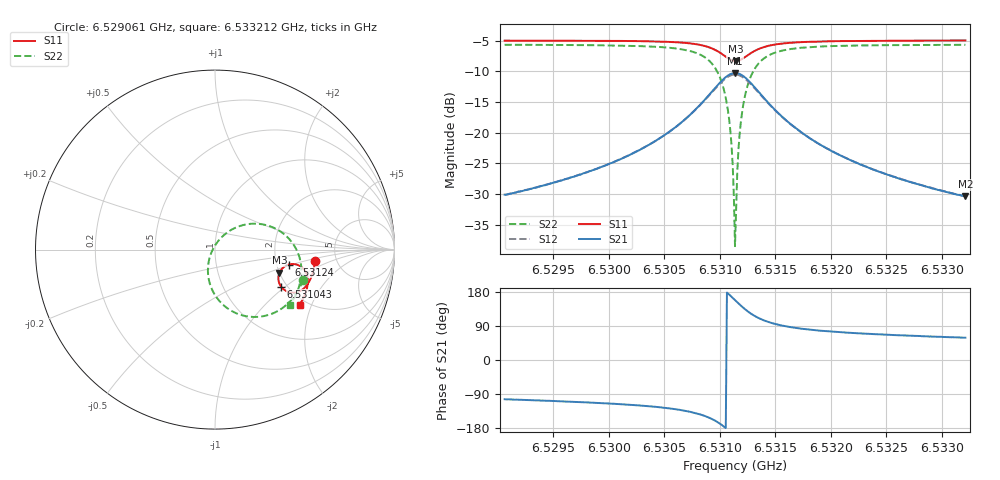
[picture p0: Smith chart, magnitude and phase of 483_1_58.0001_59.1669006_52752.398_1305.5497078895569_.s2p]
#  HZ  S  RI  R  50.00
! Rohde & Schwarz Vector Network Analyzer
! Rohde-Schwarz,ZNB20-2Port,1311601062101988,3.16
! Created: UTC 3/21/2024, 1:11:57 AM
! freq[Hz]  re:S11  im:S11  re:S21  im:S21  re:S12  im:S12  re:S22  im:S22
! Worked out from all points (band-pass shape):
!   401 points, 6.529061 GHz to 6.533212 GHz, reference 50 ohm
!   highest |S21| = -10.29 dB at 6.531136 GHz (marker M1); lowest = -30.4 dB at 6.533212 GHz (marker M2)
!   |S21| within 3 dB of the highest: 6.53093 GHz to 6.531345 GHz (415 kHz wide, 0.00635 % of centre)
!   lowest |S11| = -8.4 dB at 6.531147 GHz (marker M3), VSWR 2.23, Z = 100 - j30.1 ohm
!   |S11| at or under -10 dB: nowhere
!   |S22| runs from -38.5 to -5.7 dB; largest |S21 - S12| = 0.012
!   S11 on the Smith chart (normalised r, x): 6.529061 GHz: 3.42, -0.64; 6.531043 GHz: 1.86, -0.93; 6.53124 GHz: 2.33, -0.47; 6.533212 GHz: 1.82, -1.64
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6.529061e9  0.5573 -0.0642  -0.00729 -0.0304  -0.00785 -0.03  0.4911 -0.1678
6.5297563e9  0.5465 -0.1218  -0.0167 -0.0428  -0.0177 -0.0425  0.4603 -0.2325
6.5304515e9  0.5177 -0.1904  -0.0505 -0.0735  -0.0525 -0.0722  0.3792 -0.3231
6.5306902e9  0.4904 -0.2201  -0.0901 -0.0925  -0.0928 -0.0896  0.2988 -0.3638
6.5308666e9  0.4468 -0.239  -0.1579 -0.0989  -0.1601 -0.0925  0.1731 -0.3711
6.5309704e9  0.4023 -0.2333  -0.2269 -0.0722  -0.226 -0.063  0.0554 -0.3164
6.531043e9  0.3679 -0.2059  -0.2778 -0.0139  -0.2722 -0.00435  -0.0218 -0.21
6.5310845e9  0.3552 -0.1781  -0.2936 0.0387  -0.285 0.0465  -0.0396 -0.1197
6.5311053e9  0.3531 -0.1617  -0.2942 0.0685  -0.2842 0.0749  -0.0357 -0.0702
6.5311157e9  0.3533 -0.1533  -0.2922 0.0839  -0.282 0.0892  -0.03 -0.0455
6.531126e9  0.3545 -0.1448  -0.2889 0.099  -0.2781 0.1034  -0.0221 -0.0212
6.5311364e9  0.3564 -0.1365  -0.2839 0.1137  -0.2731 0.1172  -0.0116 0.00253
6.5311468e9  0.3593 -0.1284  -0.2774 0.128  -0.2667 0.1304  0.00132 0.0247
6.5311572e9  0.3631 -0.1209  -0.2696 0.1416  -0.259 0.1429  0.0162 0.0455
6.5311675e9  0.3677 -0.1138  -0.2606 0.1542  -0.2504 0.1547  0.0328 0.0649
6.5311883e9  0.3787 -0.1014  -0.2398 0.1758  -0.2302 0.1747  0.0704 0.0971
6.5312402e9  0.4118 -0.0831  -0.1794 0.2078  -0.1728 0.2046  0.1753 0.1407
6.5313128e9  0.4548 -0.0836  -0.104 0.2098  -0.1008 0.2067  0.3024 0.1313
6.5314166e9  0.492 -0.1061  -0.0393 0.1786  -0.0378 0.1767  0.4083 0.0646
6.5318317e9  0.5172 -0.1862  0.016 0.0861  0.017 0.0857  0.4815 -0.1278
6.5325269e9  0.4978 -0.2572  0.0179 0.0413  0.0187 0.041  0.4536 -0.245
6.5332118e9  0.471 -0.3081  0.0156 0.0258  0.0161 0.0256  0.4188 -0.306
